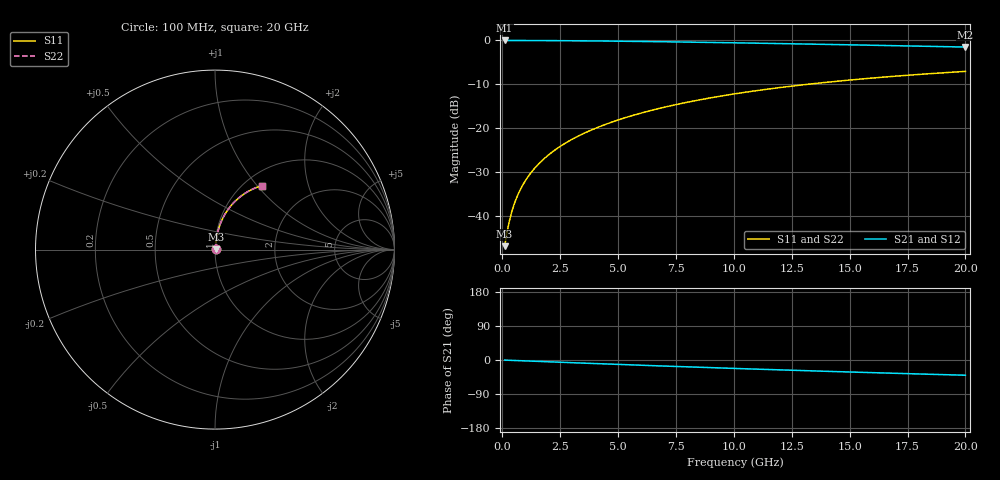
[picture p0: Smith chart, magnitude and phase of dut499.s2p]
! Touchstone file exported from HFSS 2024.1.0
!  File:  C:/UserFiles/LocalFiles/RDL_TSV_Batchsim/temp_RDL_top_499_1779679013.aedt
!  Generated:  11:19:25 AM May 25, 2026
!  Design:  RDL_top
!  Project:  temp_RDL_top_499_1779679013
!  Setup:  Setup1
!  Solution:  Sweep
! Variables:
!  dtsv = 10.80580581um
!  hbump = 3um
!  htsv = 54.25um
!  ldown = 100um
!  lrdl = 512.98um
!  p = 40
!  p1 = 53um
!  rhole = 1um
!  t = 450um
!  tdown = 3.915915916um
!  trdl = 3.29um
!  wdown = 15.38538539um
!  wrdl = 15.54um
# GHz S MA R 50.000000
! Terminal data exported
! Port[1] = Box2_T1
! Port[2] = Box2_T2
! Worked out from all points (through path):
!   200 points, 100 MHz to 20 GHz, reference 50 ohm
!   highest |S21| = -0.03 dB at 100 MHz (marker M1); lowest = -1.5 dB at 20 GHz (marker M2)
!   group delay of S21, straight-line fit = 5.57 ps
!   lowest |S11| = -46.9 dB at 100 MHz (marker M3), VSWR 1.01, Z = 50.4 + j0.26 ohm
!   |S11| at or under -10 dB: start of sweep to 13.23 GHz
!   |S22| runs from -46.9 to -7.1 dB; largest |S21 - S12| = 2.6e-15
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0.1  0.004501 35.0  0.9963 -0.2  0.9963 -0.2  0.004501 35.0
! Gamma 0 0 0 0
! Port Impedance 50 0 50 0
0.2  0.006375 53.7  0.9962 -0.5  0.9962 -0.5  0.006375 53.7
0.3  0.008589 63.0  0.9961 -0.7  0.9961 -0.7  0.008589 63.0
0.4  0.01091 68.2  0.9959 -1.0  0.9959 -1.0  0.01091 68.2
0.5  0.01326 71.6  0.9958 -1.2  0.9958 -1.2  0.01326 71.6
0.6  0.01563 73.9  0.9956 -1.5  0.9956 -1.5  0.01563 73.9
0.8  0.0204 76.9  0.9953 -1.9  0.9953 -1.9  0.0204 76.9
1.1  0.02761 79.4  0.9947 -2.6  0.9947 -2.6  0.02761 79.4
1.5  0.03729 81.0  0.9939 -3.6  0.9939 -3.6  0.03729 81.0
1.8  0.0446 81.6  0.9931 -4.3  0.9931 -4.3  0.0446 81.6
2.1  0.05193 81.9  0.9922 -5.0  0.9922 -5.0  0.05193 81.9
2.7  0.06665 81.9  0.99 -6.4  0.99 -6.4  0.06666 81.9
3.5  0.08638 81.5  0.9863 -8.2  0.9863 -8.2  0.08638 81.5
4.2  0.1037 80.7  0.9825 -9.8  0.9825 -9.8  0.1037 80.7
5  0.1235 79.7  0.9776 -11.6  0.9776 -11.6  0.1235 79.7
5.9  0.1458 78.4  0.9714 -13.6  0.9714 -13.6  0.1458 78.4
6.8  0.1679 76.9  0.9646 -15.6  0.9646 -15.6  0.1679 76.9
8.4  0.2067 74.1  0.9514 -19.0  0.9514 -19.0  0.2067 74.1
10.1  0.2468 71.1  0.9362 -22.4  0.9362 -22.4  0.2468 71.1
13.4  0.3198 65.0  0.9046 -28.8  0.9046 -28.8  0.3198 65.0
16.7  0.3851 59.2  0.8714 -34.7  0.8714 -34.7  0.3852 59.2
20  0.4423 53.7  0.8381 -40.2  0.8381 -40.2  0.4423 53.7
